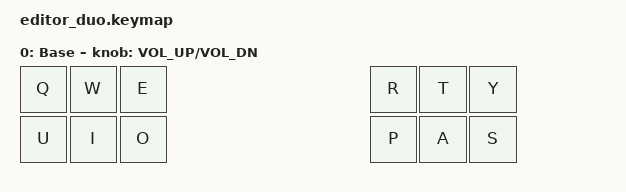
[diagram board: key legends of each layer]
#include <behaviors.dtsi>
#include <dt-bindings/zmk/keys.h>

/ {
    keymap {
        compatible = "zmk,keymap";

        default_layer {
            display-name = "Base";
            // | Q | W | E | R | T | Y |
            // | U | I | O | P | A | S |
            bindings = <
                &kp Q  &kp W  &kp E  &kp R  &kp T  &kp Y
                &kp U  &kp I  &kp O  &kp P  &kp A  &kp S
            >;

            sensor-bindings = <&inc_dec_kp C_VOL_UP C_VOL_DN>;
        };
    };
};
